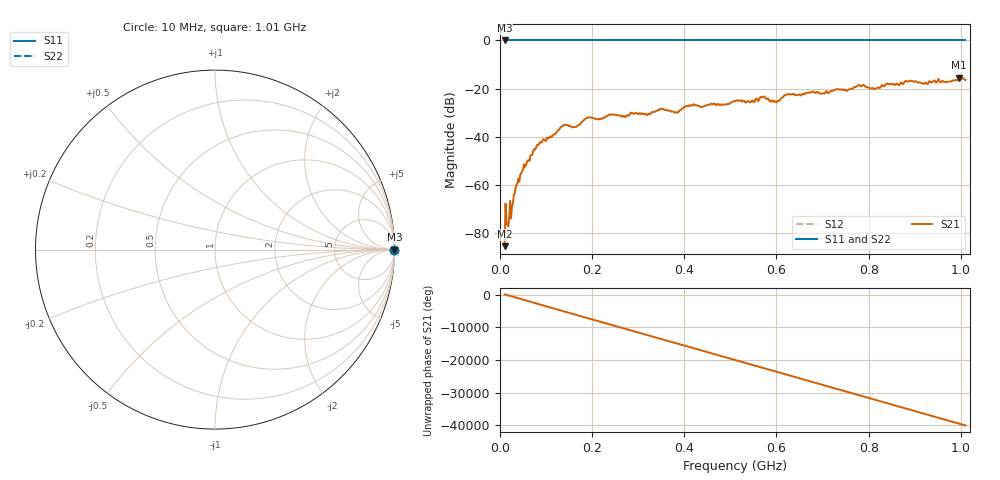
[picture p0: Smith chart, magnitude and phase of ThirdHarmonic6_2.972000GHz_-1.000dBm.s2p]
! 8/17/2025 8:25:08 AM
! C:\ANRITSUVNA\TEMP\TEMP.S2P
! CHANNEL.1
! TR.MEASUREMENT
! RAW.DATA
! RF.CORRECTION.OFF
! AVERAGING.OFF
! IF.BANDWIDTH: 5KHZ
! SWEEPTYPE:  FREQ.SWEEP(Linear)
! Reference Plane Port Info
! PORT:  PORT1  PORT2
! DISTANCE:  0  m  0  m
! TIME:  0  s  0  s
! PHASE.OFFSET:  0  deg.  0  deg.
! LOSS:  0  dB  0  dB
! REF.LOSS:  0  dB  0  dB
! REF.FREQ:  0  Hz  0  Hz
! Power Info
! POWER:  -20  dBm  -20  dBm
! EFF.POWER:  -20  dBm  -20  dBm
! SOURCE.ATTEN:  0  dB  0  dB
! TEST.ATTEN:  0  dB  0  dB
# GHZ S RI R 50.0
! FREQ.GHZ  S11RE  S11IM  S21RE  S21IM  S12RE  S12IM  S22RE  S22IM
!; PortSelection: Port_12
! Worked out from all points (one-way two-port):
!   501 points, 10 MHz to 1.01 GHz, reference 50 ohm
!   highest |S21| = -15.43 dB at 996 MHz (marker M1); lowest = -85.5 dB at 10 MHz (marker M2)
!   lowest |S11| = 0.0 dB at 10 MHz (marker M3)
!   |S11| at or under -10 dB: nowhere
!   |S22| runs from 0.0 to 0.0 dB; largest |S21 - S12| = 1.2
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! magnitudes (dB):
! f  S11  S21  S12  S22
! 10 MHz  0.0  -85.5  0.0  0.0
! 20 MHz  0.0  -74.0  0.0  0.0
! 34 MHz  0.0  -61.0  0.0  0.0
! 48 MHz  0.0  -54.3  0.0  0.0
! 78 MHz  0.0  -44.8  0.0  0.0
! 136 MHz  0.0  -35.6  0.0  0.0
! 162 MHz  0.0  -36.0  0.0  0.0
! 178 MHz  0.0  -33.8  0.0  0.0
! 192 MHz  0.0  -32.1  0.0  0.0
! 322 MHz  0.0  -30.6  0.0  0.0
! 344 MHz  0.0  -29.1  0.0  0.0
! 382 MHz  0.0  -29.9  0.0  0.0
! 416 MHz  0.0  -27.1  0.0  0.0
! 510 MHz  0.0  -25.2  0.0  0.0
! 548 MHz  0.0  -24.9  0.0  0.0
! 570 MHz  0.0  -23.6  0.0  0.0
! 598 MHz  0.0  -25.5  0.0  0.0
! 622 MHz  0.0  -22.6  0.0  0.0
! 678 MHz  0.0  -21.4  0.0  0.0
! 844 MHz  0.0  -18.2  0.0  0.0
! 996 MHz  0.0  -15.4  0.0  0.0
! 1.01 GHz  0.0  -16.4  0.0  0.0
